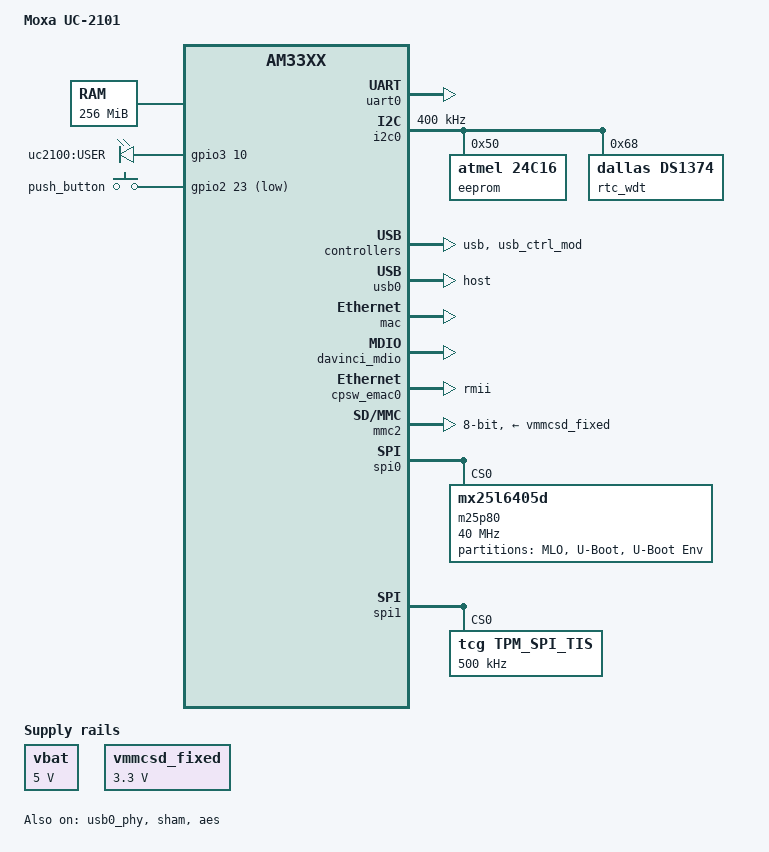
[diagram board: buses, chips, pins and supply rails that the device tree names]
/*
 * Copyright (C) 2017 MOXA Inc. - https://www.moxa.com/
 *
 * Author: SZ Lin (林上智) <sz.lin@moxa.com>
 * Author: Wes Huang (黃淵河) <wes.huang@moxa.com>
 *
 * This program is free software; you can redistribute it and/or modify
 * it under the terms of the GNU General Public License version 2 as
 * published by the Free Software Foundation.
 */

/dts-v1/;

#include "am33xx.dtsi"

/ {
	model = "Moxa UC-2101";
	compatible = "moxa,uc-2101", "ti,am33xx";

	cpu0_opp_table: opp_table0 {
		opp50@300000000 {
			status = "okay";
		};

		opp100@275000000 {
			status = "disabled";
		};

		opp100@300000000 {
			status = "disabled";
		};

		opp100@500000000 {
			status = "disabled";
		};

		opp100@600000000 {
			status = "okay";
		};

		opp120@600000000 {
			status = "disabled";
		};

		opp120@720000000 {
			status = "okay";
		};

		oppturbo@720000000 {
			status = "disabled";
		};

		oppturbo@800000000 {
			status = "disabled";
		};

		oppnitro@1000000000 {
			status = "okay";
		};
	};

	memory {
		device_type = "memory";
		reg = <0x80000000 0x10000000>; /* 256 MB */
	};

	vbat: fixedregulator@0 {
		compatible = "regulator-fixed";
	};

	/* Power supply provides a fixed 3.3V @3A */
	vmmcsd_fixed: fixedregulator@1 {
	      compatible = "regulator-fixed";
	      regulator-name = "vmmcsd_fixed";
	      regulator-min-microvolt = <3300000>;
	      regulator-max-microvolt = <3300000>;
	      regulator-boot-on;
	};

	leds {
		compatible = "gpio-leds";
		led1 {
			label = "uc2100:USER";
			gpios = <&gpio3 10 GPIO_ACTIVE_HIGH>;
			default-state = "off";
		};
	};

	buttons: push_button {
		compatible = "gpio-keys";
	};
};

&am33xx_pinmux {
	pinctrl-names = "default";

	i2c0_pins: pinmux_i2c0_pins {
		pinctrl-single,pins = <
			AM33XX_IOPAD(0x988, PIN_INPUT_PULLUP | MUX_MODE0)    	/* i2c0_sda.i2c0_sda */
			AM33XX_IOPAD(0x98c, PIN_INPUT_PULLUP | MUX_MODE0)    	/* i2c0_scl.i2c0_scl */
		>;
	};

	push_button_pins: pinmux_push_button {
		pinctrl-single,pins = <
			AM33XX_IOPAD(0x8e4, PIN_INPUT_PULLDOWN | MUX_MODE7)    /* lcd_hsync.gpio2_23 */
		>;
	};

	uart0_pins: pinmux_uart0_pins {
		pinctrl-single,pins = <
			AM33XX_IOPAD(0x970, PIN_INPUT_PULLUP | MUX_MODE0)	/* uart0_rxd.uart0_rxd */
			AM33XX_IOPAD(0x974, PIN_OUTPUT_PULLDOWN | MUX_MODE0)	/* uart0_txd.uart0_txd */
		>;
	};

	cpsw_default: cpsw_default {
		pinctrl-single,pins = <
			/* Slave 1 */
			AM33XX_IOPAD(0x90c, PIN_INPUT_PULLDOWN | MUX_MODE1)  	/* mii1_crs.rmii1_crs_dv */
			AM33XX_IOPAD(0x910, PIN_INPUT_PULLUP | MUX_MODE1)    	/* mii1_rxerr.rmii1_rxerr */
			AM33XX_IOPAD(0x914, PIN_OUTPUT_PULLDOWN | MUX_MODE1) 	/* mii1_txen.rmii1_txen */
			AM33XX_IOPAD(0x924, PIN_OUTPUT_PULLDOWN | MUX_MODE1) 	/* mii1_txd1.rmii1_txd1 */
			AM33XX_IOPAD(0x928, PIN_OUTPUT_PULLDOWN | MUX_MODE1) 	/* mii1_txd0.rmii1_txd0 */
			AM33XX_IOPAD(0x93c, PIN_INPUT_PULLUP | MUX_MODE1)    	/* mii1_rxd1.rmii1_rxd1 */
			AM33XX_IOPAD(0x940, PIN_INPUT_PULLUP | MUX_MODE1)    	/* mii1_rxd0.rmii1_rxd0 */
			AM33XX_IOPAD(0x944, PIN_INPUT_PULLDOWN | MUX_MODE0)  	/* mii1_refclk.rmii1_refclk */
		>;
	};

	davinci_mdio_default: davinci_mdio_default {
		pinctrl-single,pins = <
			/* MDIO */
			AM33XX_IOPAD(0x948, PIN_INPUT_PULLUP | SLEWCTRL_FAST | MUX_MODE0)	/* mdio_data.mdio_data */
			AM33XX_IOPAD(0x94c, PIN_OUTPUT_PULLUP | MUX_MODE0)			/* mdio_clk.mdio_clk */
		>;
	};

	mmc1_pins_default: pinmux_mmc1_pins {
		pinctrl-single,pins = <
			/* eMMC */
			AM33XX_IOPAD(0x800, PIN_INPUT_PULLUP | MUX_MODE1)	/* gpmc_ad12.mmc1_dat0 */
			AM33XX_IOPAD(0x804, PIN_INPUT_PULLUP | MUX_MODE1)	/* gpmc_ad13.mmc1_dat1 */
			AM33XX_IOPAD(0x808, PIN_INPUT_PULLUP | MUX_MODE1)	/* gpmc_ad14.mmc1_dat2 */
			AM33XX_IOPAD(0x80c, PIN_INPUT_PULLUP | MUX_MODE1)	/* gpmc_ad15.mmc1_dat3 */
			AM33XX_IOPAD(0x810, PIN_INPUT_PULLUP | MUX_MODE1)	/* gpmc_ad8.mmc1_dat4 */
			AM33XX_IOPAD(0x814, PIN_INPUT_PULLUP | MUX_MODE1)	/* gpmc_ad9.mmc1_dat5 */
			AM33XX_IOPAD(0x818, PIN_INPUT_PULLUP | MUX_MODE1)	/* gpmc_ad10.mmc1_dat6 */
			AM33XX_IOPAD(0x81c, PIN_INPUT_PULLUP | MUX_MODE1)	/* gpmc_ad11.mmc1_dat7 */
			AM33XX_IOPAD(0x884, PIN_INPUT_PULLUP | MUX_MODE2)	/* gpmc_csn2.mmc1_cmd */
			AM33XX_IOPAD(0x880, PIN_INPUT_PULLUP | MUX_MODE2)	/* gpmc_csn1.mmc1_clk */
		>;
	};

	spi0_pins: pinmux_spi0 {
		pinctrl-single,pins = <
			AM33XX_IOPAD(0x950, PIN_INPUT_PULLUP | MUX_MODE0)	 /* spi0_sclk.spi0_sclk */
			AM33XX_IOPAD(0x95c, PIN_INPUT_PULLUP | MUX_MODE0)	 /* spi0_cs0.spi0_cs0 */
			AM33XX_IOPAD(0x954, PIN_INPUT_PULLUP | MUX_MODE0)	 /* spi0_d0.spi0_d0 */
			AM33XX_IOPAD(0x958, PIN_INPUT_PULLUP | MUX_MODE0)	 /* spi0_d1.spi0_d1 */
		>;
	};

	spi1_pins: pinmux_spi1 {
		pinctrl-single,pins = <
			AM33XX_IOPAD(0x964, PIN_INPUT_PULLUP | MUX_MODE4)	 /* ecap0_in_pwm0_out.spi1_sclk */
			AM33XX_IOPAD(0x978, PIN_INPUT_PULLUP | MUX_MODE4)	 /* uart1_ctsn.spi1_cs0 */
			AM33XX_IOPAD(0x968, PIN_INPUT_PULLUP | MUX_MODE4)	 /* uart0_ctsn.spi1_d0 */
			AM33XX_IOPAD(0x96c, PIN_INPUT_PULLUP | MUX_MODE4)	 /* uart0_rtsn.spi1_d1 */
		>;
	};
};

&uart0 {
	/* Console */
	status = "okay";
	pinctrl-names = "default";
	pinctrl-0 = <&uart0_pins>;
};

&i2c0 {
	pinctrl-names = "default";
	pinctrl-0 = <&i2c0_pins>;

	status = "okay";
	clock-frequency = <400000>;

	eeprom: eeprom@50 {
		compatible = "atmel,24c16";
		pagesize = <16>;
		reg = <0x50>;
	};

	rtc_wdt: rtc_wdt@68 {
		compatible = "dallas,ds1374";
		reg = <0x68>;
	};
};

&usb {
	status = "okay";
};

&usb_ctrl_mod {
	status = "okay";
};

&usb0_phy {
	status = "okay";
};

&usb0 {
	status = "okay";
	dr_mode = "host";
};

&cppi41dma  {
	status = "okay";
};

/* Power */
&vbat {
	regulator-name = "vbat";
	regulator-min-microvolt = <5000000>;
	regulator-max-microvolt = <5000000>;
};

&mac {
	pinctrl-names = "default";
	pinctrl-0 = <&cpsw_default>;
	status = "okay";
};

&davinci_mdio {
	pinctrl-names = "default";
	pinctrl-0 = <&davinci_mdio_default>;
	status = "okay";
};

&cpsw_emac0 {
	status = "okay";
	phy_id = <&davinci_mdio>, <0x4>;
	phy-mode = "rmii";
};

&cpsw_emac1 {
	status = "disable";
};

&phy_sel {
	reg= <0x44e10650 0xf5>;
	rmii-clock-ext;
};

&sham {
	status = "okay";
};

&aes {
	status = "okay";
};

&gpio0 {
	ti,no-reset-on-init;
};

&mmc2 {
	pinctrl-names = "default";
	vmmc-supply = <&vmmcsd_fixed>;
	bus-width = <8>;
	pinctrl-0 = <&mmc1_pins_default>;
	ti,non-removable;
	status = "okay";
};

&buttons {
	pinctrl-names = "default";
	pinctrl-0 = <&push_button_pins>;
	#address-cells = <1>;
	#size-cells = <0>;

	button@0 {
		label = "push_button";
		linux,code = <0x100>;
		gpios = <&gpio2 23 GPIO_ACTIVE_LOW>;
	};
};

/* SPI Busses */
&spi0 {
	status = "okay";
	pinctrl-names = "default";
	pinctrl-0 = <&spi0_pins>;

	m25p80@0 {
		compatible = "mx25l6405d";
		spi-max-frequency = <40000000>;

		reg = <0>;
		spi-cpol;
		spi-cpha;

		partitions {
	                compatible = "fixed-partitions";
	                #address-cells = <1>;
	                #size-cells = <1>;

			/* reg : The partition's offset and size within the mtd bank. */
			partitions@0 {
				label = "MLO";
				reg = <0x0 0x80000>;
			};

			partitions@1 {
				label = "U-Boot";
				reg = <0x80000 0x100000>;
			};

			partitions@2 {
				label = "U-Boot Env";
				reg = <0x180000 0x20000>;
			};
	        };
	};
};

&spi1{
	status = "okay";
	pinctrl-names = "default";
	pinctrl-0 = <&spi1_pins>;
	tpm_spi_tis@0{
		compatible = "tcg,tpm_spi_tis";
		reg = <0>;
		spi-max-frequency = <500000>;
	};
};
